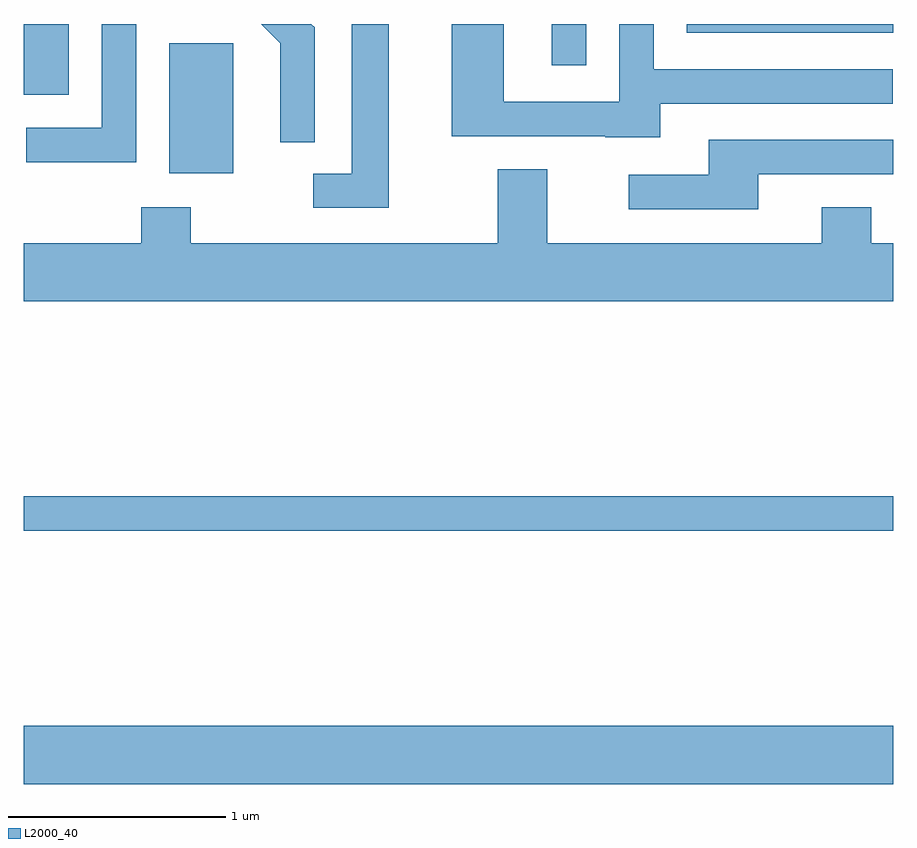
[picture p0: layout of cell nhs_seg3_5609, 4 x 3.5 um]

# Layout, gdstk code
import gdstk
lib = gdstk.Library(unit=1e-6, precision=1e-09)
def R(c, l, rs):  # rectangles x0, y0, x1, y1
    for r in rs: c.add(gdstk.rectangle(r[:2], r[2:], *l))
def P(c, l, *ps):  # polygons
    for p in ps: c.add(gdstk.Polygon(p, *l))
L2000_40 = (2000, 40)

nhs_seg3_5609 = lib.new_cell('nhs_seg3_5609')
R(nhs_seg3_5609, L2000_40, [(349.611,1190.396,353.611,1190.664), (349.611,1191.561,353.611,1191.719), (350.281,1193.206,350.574,1193.804), (349.611,1193.566,349.819,1193.892), (352.041,1193.703,352.199,1193.892), (352.661,1193.851,353.611,1193.892)])
P(nhs_seg3_5609, L2000_40, [(351.289,1193.892),(351.121,1193.892),(351.121,1193.204),(350.943,1193.204),(350.943,1193.046),(351.289,1193.046)],
  [(352.539,1193.526),(353.608,1193.526),(353.608,1193.684),(352.509,1193.684),(352.509,1193.892),(352.351,1193.892),(352.351,1193.534),(351.819,1193.534),(351.819,1193.892),(351.581,1193.892),(351.581,1193.376),(352.285,1193.376),(352.285,1193.371),(352.539,1193.371)],
  [(350.129,1193.892),(349.971,1193.892),(349.971,1193.414),(349.623,1193.414),(349.623,1193.256),(350.129,1193.256)],
  [(350.949,1193.877),(350.934,1193.892),(350.703,1193.892),(350.791,1193.804),(350.791,1193.348),(350.949,1193.348)],
  [(352.989,1193.201),(353.611,1193.201),(353.611,1193.359),(352.761,1193.359),(352.761,1193.199),(352.393,1193.199),(352.393,1193.041),(352.989,1193.041)],
  [(353.611,1192.884),(353.509,1192.884),(353.509,1193.049),(353.281,1193.049),(353.281,1192.884),(352.019,1192.884),(352.019,1193.224),(351.791,1193.224),(351.791,1192.884),(350.379,1192.884),(350.379,1193.049),(350.151,1193.049),(350.151,1192.884),(349.611,1192.884),(349.611,1192.616),(353.611,1192.616)])

lib.write_gds('nhs_seg3_5609.gds')
